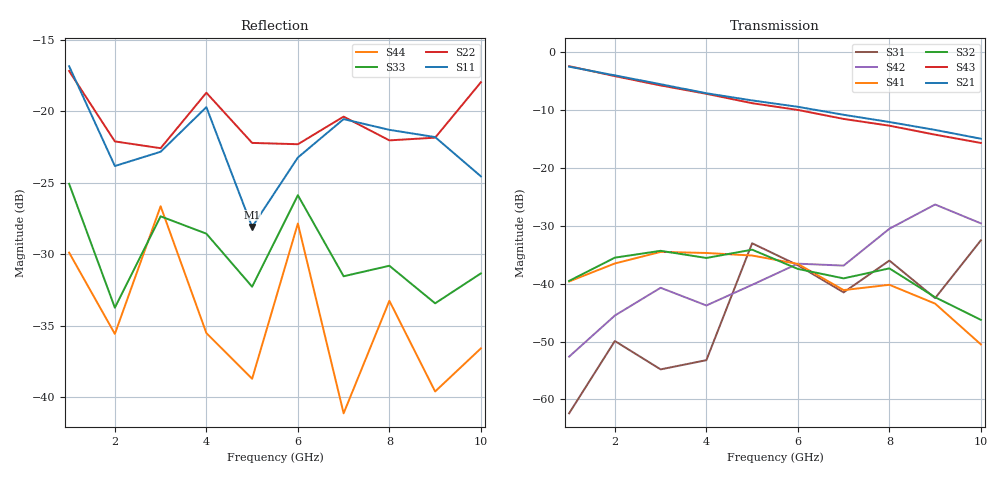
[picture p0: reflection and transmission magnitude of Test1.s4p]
# MHz MA S R 50.0
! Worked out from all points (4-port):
!   10 points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, 1 GHz to 10 GHz, reference 50 ohm
!   strongest paths, dB at 1 GHz, 3 GHz, 6 GHz, 8 GHz, 10 GHz:
!     S21: -2.5, -5.5, -9.4, -12.1, -14.9
!     S43: -2.4, -5.7, -10.0, -12.7, -15.7
!     S32: -39.5, -34.3, -37.4, -37.3, -46.2
!     S41: -39.6, -34.5, -36.6, -40.2, -50.5
!     S42: -52.6, -40.7, -36.5, -30.5, -29.6
!     S31: -62.4, -54.8, -36.8, -36.0, -32.5
!   lowest |S11| = -28.1 dB at 5 GHz (marker M1), VSWR 1.08, Z = 46.2 - j0.114 ohm
!   |S11| at or under -10 dB: start of sweep to end of sweep
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1000  0.1436 173.5  0.7498 -80.8  0.000521 160.6  0.01025 177.4
      0.7508 -80.8  0.1382 -172.6  0.01116 168.6  0.002638 18.6
      0.000759 135.1  0.01058 177.4  0.05569 38.7  0.7567 -103.2
      0.01046 172.7  0.002343 18.3  0.7579 -103.2  0.032 -10.6
2000  0.06427 141.8  0.6333 -150.6  0.003856 163.3  0.01622 98.0
      0.631 -150.6  0.07835 158.7  0.01522 90.0  0.005133 79.8
      0.003198 166.0  0.0168 82.7  0.02053 21.8  0.6222 165.6
      0.01496 101.9  0.005311 82.1  0.6214 165.4  0.01662 122.6
3000  0.07209 -163.7  0.5293 141.9  0.003744 -60.3  0.01687 33.3
      0.5295 142.3  0.07419 -153.1  0.0191 1.3  0.01113 111.2
      0.001819 -66.3  0.01924 0.2  0.04286 10.5  0.5177 77.6
      0.01883 29.8  0.009225 122.2  0.5166 77.7  0.04648 -43.2
5000  0.03934 -178.2  0.3842 16.2  0.02164 107.1  0.01067 -117.0
      0.3834 16.2  0.07742 -169.6  0.02017 -137.1  0.01068 -114.4
      0.02235 96.8  0.01968 -147.8  0.02431 -14.8  0.3607 -92.9
      0.01752 -105.9  0.009781 -101.6  0.3629 -92.0  0.01158 108.8
6000  0.06883 172.9  0.335 -45.9  0.01453 119.9  0.01647 -179.0
      0.3377 -45.9  0.0766 -170.1  0.01231 145.2  0.0167 -134.9
      0.01444 116.4  0.01342 143.1  0.0508 -18.6  0.3146 -174.7
      0.01482 177.3  0.0149 -134.0  0.3172 -174.5  0.04045 -128.3
7000  0.09377 -174.3  0.2886 -107.9  0.005703 179.1  0.0115 112.6
      0.2881 -108.1  0.09566 162.8  0.01158 52.8  0.01478 39.0
      0.008415 -157.4  0.01112 42.1  0.02645 -101.9  0.2649 103.4
      0.008808 113.4  0.01434 14.6  0.2653 103.0  0.008769 -109.7
10000  0.05917 137.2  0.1783 72.3  0.02106 145.2  0.007264 -6.4
       0.179 71.9  0.1262 -178.5  0.00249 18.3  0.03401 -131.8
       0.02372 134.8  0.004872 -170.0  0.02706 -69.3  0.1637 -142.0
       0.002991 -104.5  0.03322 -136.8  0.1645 -141.5  0.01479 129.0
